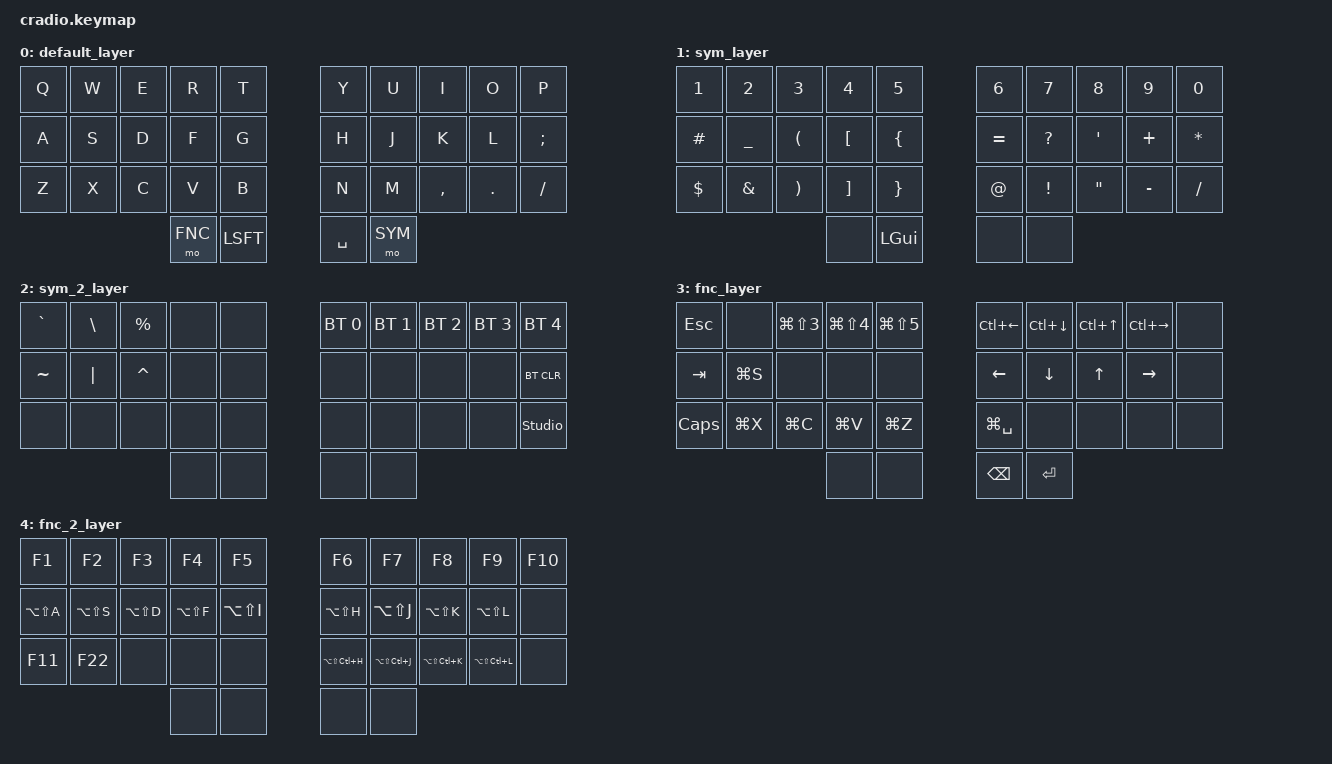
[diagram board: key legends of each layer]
/*
 * Copyright (c) 2020 The ZMK Contributors
 *
 * SPDX-License-Identifier: MIT
 */

#include <behaviors.dtsi>
#include <dt-bindings/zmk/keys.h>
#include <dt-bindings/zmk/bt.h>

#define QWERTY 0
#define SYM    1
#define SYM_2  2
#define FNC    3
#define FNC_2  4



&mt {
  //  flavor = "tap-preferred";
   // tapping_term_ms = <200>;
};

/ { 

    combos {
        compatible = "zmk,combos";

        combo_sym2 {
            timeout-ms = <50>;
            key-positions = <32 33>;
            bindings = <&tog SYM_2>;
        };

        combo_fun2 {
            timeout-ms = <50>;
            key-positions = <30 31>;
            bindings = <&tog FNC_2>;
        };

    };

    keymap {
        compatible = "zmk,keymap";
                
/*
  
 | Q | W | E | R | T |       | Y | U | I | O | P |
 | A | S | D | F | G |       | H | J | K | L | ;: |
 | Z | X | C | V | B |       | N | M | ,< | .> | /? |
          | FUN | SHIFT | | SPACE | SYMBOL |
  */

       	default_layer {
		    bindings = <
		&kp Q   &kp W   &kp E   &kp R   &kp T 						&kp Y   &kp U   &kp I    &kp O   &kp P 
		&kp A   &kp S   &kp D   &kp F   &kp G 			        	&kp H   &kp J   &kp K    &kp L   &kp SEMI
		&kp Z   &kp X   &kp C   &kp V   &kp B				        &kp N   &kp M   &kp CMMA &kp DOT &kp SLASH
          				        &mo FNC &kp LSFT  				    &kp SPC &mo SYM 
		>;
		};

/*
  
 | 1 | 2 | 3 | 4 | 5 |       | 6 | 7 | 8 | 9 | 0 |
 | # | _ | ( | [ | { |       | = | ? | ' | + | * |
 | $ | & | ) | ] | } |       | @ | ! | " | - | / |
             |   | CMD |    |   |   |
  */

       	sym_layer {
		    bindings = <
		&kp NUM_1  &kp NUM_2    &kp NUM_3  &kp NUM_4   &kp NUM_5		&kp NUM_6   &kp NUM_7   &kp NUM_8   &kp NUM_9   &kp NUM_0 
		&kp HASH   &kp UNDER    &kp LPAR   &kp LBKT    &kp LBRC 		&kp EQUAL   &kp QMARK   &kp SQT     &kp PLUS    &kp STAR 
		&kp DLLR   &kp AMPS 	&kp RPAR   &kp RBKT    &kp RBRC 	    &kp AT      &kp EXCL    &kp DQT     &kp MINUS   &kp SLASH 
					                       &none       &kp LGUI  		&none       &none 
		>;
		};
		
/*
  
 | ` | \ | % |   |   |       |   |   |   |   |   |
 | ~ | | | ^ |   |   |       |   |   |   |   |   |
 |   |   |   |   |   |       |   |   |   |   |   |
             |   |   |       |   |   |
  */

		sym_2_layer {
		    bindings = <
		&kp GRAVE  &kp BSLH  &kp PRCNT  &none  &none    			&bt BT_SEL 0  &bt BT_SEL 1  &bt BT_SEL 2  &bt BT_SEL 3  &bt BT_SEL 4
		&kp TILDE  &kp PIPE  &kp CARET  &none  &none    			&none  &none  &none  &none  &bt BT_CLR
		&none      &none     &none      &none  &none    			&none  &none  &none  &none  &studio_unlock
					                    &none  &none  				&none  &none 
		>;
		};	
		
/*
  
 | ESC |   |   |   |   |           |   |   |   |   |   |
 | TAB |   |   |   |   |           | h | j | k | l |   |
 | CAP |   |   |   |   |           |   |   |   |   |   |
      |   |   |           | BSPC | ENTER |
  */

// &kp LCMD(LS(NUMBER_3))  &kp LCMD(LS(NUMBER_4))  &kp LCMD(LS(NUMBER_5))

		fnc_layer {
		    bindings = <
		&kp ESC  &none    		&kp LG(LS(NUMBER_3)) 	&kp LG(LS(NUMBER_4)) 	&kp LG(LS(NUMBER_5))   			&kp LC(LEFT)    &kp LC(DOWN)  		&kp LC(UP)  		&kp LC(RIGHT)  			&none
		&kp TAB  &kp LG(S)    	&none 					&none 					&none    						&kp LEFT    	&kp DOWN    &kp UP      &kp RIGHT      	&none
		&kp CAPS &kp LG(X)    	&kp LG(C) 				&kp LG(V) 				&kp LG(Z)    					&kp LG(SPACE)  	&none     	&none       &none       	&none
					    								&none       			&none  							&kp BSPC        &kp ENTER 
		>;
		};	

/*
  
 | F1 | F2 | F3 | F4 | F5 |           | F6 | F7 | F8 | F9 | F10 |
 |   |   |   |   |   |           |   |   |   |   |   |
 | F11 | F12 |   |   |   |           |   |   |   |   |   |
             |   |   |           |   |   |
  */

        fnc_2_layer {
		    bindings = <
		&kp F1          &kp F2          &kp F3          &kp F4          &kp F5 			    &kp F6              &kp F7              &kp F8              &kp F9              &kp F10
		&kp LA(LS(A))   &kp LA(LS(S))   &kp LA(LS(D))   &kp LA(LS(F))   &kp LA(LS(I))  	    &kp LA(LS(H))       &kp LA(LS(J))       &kp LA(LS(K))       &kp LA(LS(L))       &none 
		&kp F11         &kp F22         &none      		&none          	&none   			&kp LA(LS(LC(H)))   &kp LA(LS(LC(J)))   &kp LA(LS(LC(K)))   &kp LA(LS(LC(L)))   &none 
					                                    &none           &none  			    &none               &none 
		>;
		};	
        
	};
};
